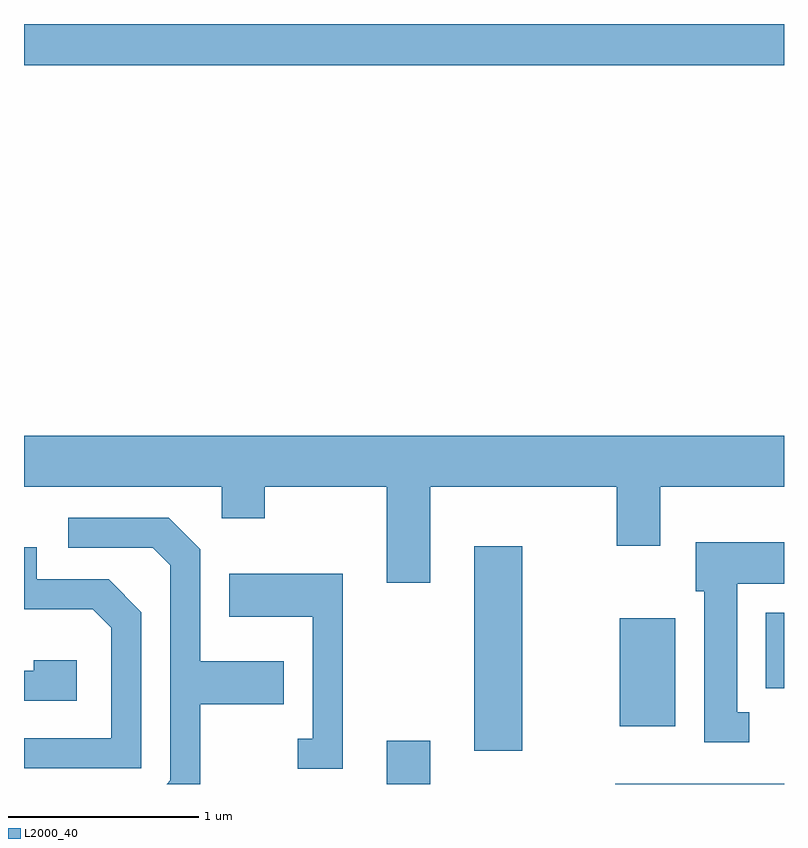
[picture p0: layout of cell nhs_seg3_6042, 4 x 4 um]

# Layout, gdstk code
import gdstk
lib = gdstk.Library(unit=1e-6, precision=1e-09)
def R(c, l, rs):  # rectangles x0, y0, x1, y1
    for r in rs: c.add(gdstk.rectangle(r[:2], r[2:], *l))
def P(c, l, *ps):  # polygons
    for p in ps: c.add(gdstk.Polygon(p, *l))
L2000_40 = (2000, 40)

nhs_seg3_6042 = lib.new_cell('nhs_seg3_6042')
R(nhs_seg3_6042, L2000_40, [(363.521,1239.892,363.749,1240.119), (364.723,1239.892,365.611,1239.894), (363.981,1240.066,364.234,1241.144), (364.746,1240.196,365.039,1240.764), (365.516,1240.396,365.611,1240.794), (361.611,1243.676,365.611,1243.892)])
P(nhs_seg3_6042, L2000_40, [(363.749,1241.456),(364.731,1241.456),(364.731,1241.146),(364.959,1241.146),(364.959,1241.456),(365.611,1241.456),(365.611,1241.724),(361.611,1241.724),(361.611,1241.456),(362.651,1241.456),(362.651,1241.291),(362.879,1241.291),(362.879,1241.456),(363.521,1241.456),(363.521,1240.951),(363.749,1240.951)],
  [(362.539,1240.311),(362.979,1240.311),(362.979,1240.539),(362.539,1240.539),(362.539,1241.127),(362.372,1241.294),(361.843,1241.294),(361.843,1241.136),(362.289,1241.136),(362.381,1241.044),(362.381,1239.912),(362.361,1239.892),(362.539,1239.892)],
  [(365.428,1240.269),(365.364,1240.269),(365.364,1240.946),(365.611,1240.946),(365.611,1241.164),(365.146,1241.164),(365.146,1240.906),(365.191,1240.906),(365.191,1240.111),(365.428,1240.111)],
  [(362.229,1240.797),(362.057,1240.969),(361.679,1240.969),(361.679,1241.139),(361.611,1241.139),(361.611,1240.811),(361.974,1240.811),(362.071,1240.714),(362.071,1240.134),(361.611,1240.134),(361.611,1239.976),(362.229,1239.976)],
  [(363.289,1240.999),(362.691,1240.999),(362.691,1240.771),(363.131,1240.771),(363.131,1240.129),(363.053,1240.129),(363.053,1239.971),(363.289,1239.971)],
  [(361.889,1240.544),(361.661,1240.544),(361.661,1240.489),(361.611,1240.489),(361.611,1240.331),(361.889,1240.331)])

lib.write_gds('nhs_seg3_6042.gds')
